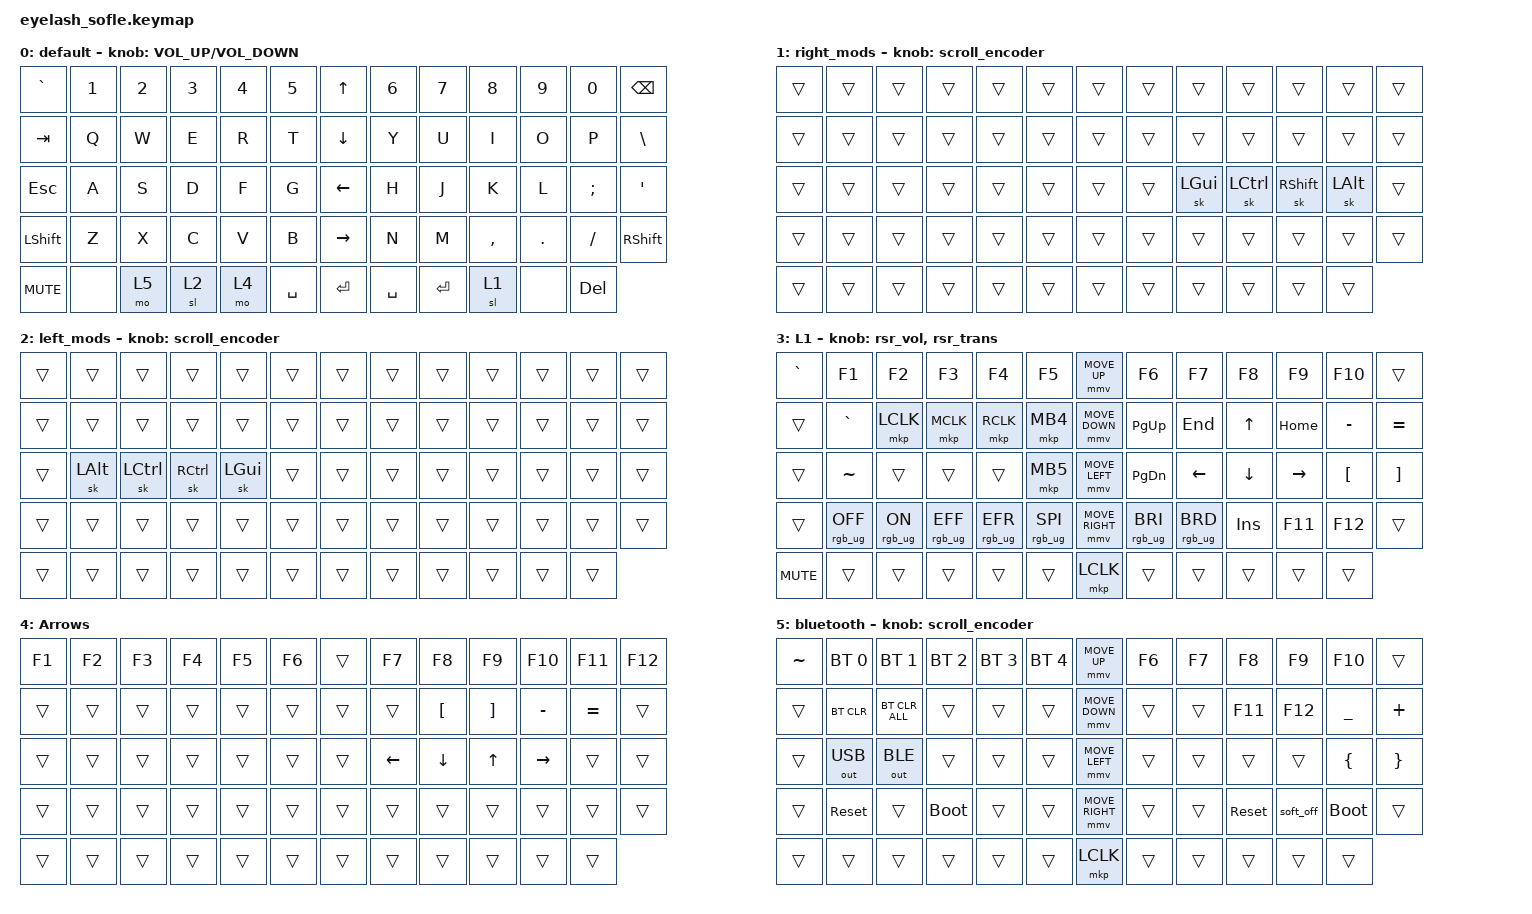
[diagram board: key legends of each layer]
#define ZMK_POINTING_DEFAULT_MOVE_VAL 1200  // 600
#define ZMK_POINTING_DEFAULT_SCRL_VAL 25   // 10

#include <input/processors.dtsi>
#include <zephyr/dt-bindings/input/input-event-codes.h>
#include <behaviors/runtime-sensor-rotate.dtsi>
#include <behaviors.dtsi>
#include <dt-bindings/zmk/bt.h>
#include <dt-bindings/zmk/keys.h>
#include <dt-bindings/zmk/outputs.h>
#include <dt-bindings/zmk/pointing.h>
#include <dt-bindings/zmk/rgb.h>

&mmv_input_listener { input-processors = <&zip_xy_scaler 2 1>; };

&msc_input_listener { input-processors = <&zip_scroll_scaler 2 1>; };

&msc {
    acceleration-exponent = <1>;      // 0
    time-to-max-speed-ms = <100>;       // 300
    delay-ms = <0>;                   // 0
};

&mmv {
    time-to-max-speed-ms = <500>;
    acceleration-exponent = <1>;
    trigger-period-ms = <16>;
};

&soft_off { hold-time-ms = <2000>; };

&sl { release-after-ms = <500>; };

/ {
    scroll_encoder: scroll_encoder {
        compatible = "zmk,behavior-sensor-rotate";
        #sensor-binding-cells = <0>;
        bindings = <&msc SCRL_DOWN>, <&msc SCRL_UP>;

        tap-ms = <100>;
    };

    behaviors {
        rsr_vol: rsr_vol {
            compatible = "zmk,behavior-runtime-sensor-rotate";
            #sensor-binding-cells = <0>;
            tap-ms = <5>;
            cw-binding = <&kp C_VOL_UP>;
            ccw-binding = <&kp C_VOL_DN>;
        };

        rsr_trans: rsr_trans {
            compatible = "zmk,behavior-runtime-sensor-rotate";
            #sensor-binding-cells = <0>;
            tap-ms = <0>;
        };
    };

    combos {
        compatible = "zmk,combos";

        softoff {
            bindings = <&soft_off>;
            key-positions = <14 28 40>;
        };
    };

    keymap {
        compatible = "zmk,keymap";

        Default {
            bindings = <
&kp GRAVE   &kp N1  &kp N2  &kp N3  &kp N4  &kp N5       &kp UP_ARROW     &kp N6     &kp N7     &kp N8     &kp N9   &kp N0      &kp BACKSPACE
&kp TAB     &kp Q   &kp W   &kp E   &kp R   &kp T        &kp DOWN_ARROW   &kp Y      &kp U      &kp I      &kp O    &kp P       &kp BSLH
&kp ESCAPE  &kp A   &kp S   &kp D   &kp F   &kp G        &kp LEFT_ARROW   &kp H      &kp J      &kp K      &kp L    &kp SEMI    &kp APOS
&kp LSHFT   &kp Z   &kp X   &kp C   &kp V   &kp B        &kp RIGHT_ARROW  &kp N      &kp M      &kp COMMA  &kp DOT  &kp FSLH    &kp RIGHT_SHIFT
&kp C_MUTE  &none   &mo 5   &sl 2   &mo 4   &kp SPACE    &kp ENTER        &kp SPACE  &kp ENTER  &sl 1      &none    &kp DELETE
            >;

            sensor-bindings = <&inc_dec_kp C_VOLUME_UP C_VOLUME_DOWN>;
            display-name = "default";
        };

        right_mods {
            bindings = <
&trans  &trans  &trans  &trans  &trans  &trans    &trans  &trans  &trans    &trans     &trans     &trans    &trans
&trans  &trans  &trans  &trans  &trans  &trans    &trans  &trans  &trans    &trans     &trans     &trans    &trans
&trans  &trans  &trans  &trans  &trans  &trans    &trans  &trans  &sk LGUI  &sk LCTRL  &sk RSHFT  &sk LALT  &trans
&trans  &trans  &trans  &trans  &trans  &trans    &trans  &trans  &trans    &trans     &trans     &trans    &trans
&trans  &trans  &trans  &trans  &trans  &trans    &trans  &trans  &trans    &trans     &trans     &trans
            >;

            display-name = "right_mods";
            sensor-bindings = <&scroll_encoder>;
        };

        left_mods {
            bindings = <
&trans  &trans    &trans     &trans     &trans    &trans    &trans  &trans  &trans  &trans  &trans  &trans  &trans
&trans  &trans    &trans     &trans     &trans    &trans    &trans  &trans  &trans  &trans  &trans  &trans  &trans
&trans  &sk LALT  &sk LCTRL  &sk RCTRL  &sk LGUI  &trans    &trans  &trans  &trans  &trans  &trans  &trans  &trans
&trans  &trans    &trans     &trans     &trans    &trans    &trans  &trans  &trans  &trans  &trans  &trans  &trans
&trans  &trans    &trans     &trans     &trans    &trans    &trans  &trans  &trans  &trans  &trans  &trans
            >;

            display-name = "left_mods";
            sensor-bindings = <&scroll_encoder>;
        };

        layer_1 {
            bindings = <
&kp GRAVE   &kp F1           &kp F2          &kp F3           &kp F4           &kp F5             &mmv MOVE_UP     &kp F6           &kp F7           &kp F8      &kp F9     &kp F10           &trans
&trans      &kp GRAVE        &mkp LCLK       &mkp MCLK        &mkp RCLK        &mkp MB4           &mmv MOVE_DOWN   &kp PG_UP        &kp END          &kp UP      &kp HOME   &kp MINUS         &kp EQUAL
&trans      &kp TILDE        &trans          &trans           &trans           &mkp MB5           &mmv MOVE_LEFT   &kp PG_DN        &kp LEFT         &kp DOWN    &kp RIGHT  &kp LEFT_BRACKET  &kp RIGHT_BRACKET
&trans      &rgb_ug RGB_OFF  &rgb_ug RGB_ON  &rgb_ug RGB_EFF  &rgb_ug RGB_EFR  &rgb_ug RGB_SPI    &mmv MOVE_RIGHT  &rgb_ug RGB_BRI  &rgb_ug RGB_BRD  &kp INSERT  &kp F11    &kp F12           &trans
&kp C_MUTE  &trans           &trans          &trans           &trans           &trans             &mkp LCLK        &trans           &trans           &trans      &trans     &trans
            >;

            display-name = "L1";
            sensor-bindings = <&rsr_vol &rsr_trans>;
        };

        Arrows {
            bindings = <
&kp F1  &kp F2  &kp F3  &kp F4  &kp F5  &kp F6    &trans  &kp F7    &kp F8    &kp F9    &kp F10    &kp F11    &kp F12
&trans  &trans  &trans  &trans  &trans  &trans    &trans  &trans    &kp LBKT  &kp RBKT  &kp MINUS  &kp EQUAL  &trans
&trans  &trans  &trans  &trans  &trans  &trans    &trans  &kp LEFT  &kp DOWN  &kp UP    &kp RIGHT  &trans     &trans
&trans  &trans  &trans  &trans  &trans  &trans    &trans  &trans    &trans    &trans    &trans     &trans     &trans
&trans  &trans  &trans  &trans  &trans  &trans    &trans  &trans    &trans    &trans    &trans     &trans
            >;
        };

        bluetooth {
            bindings = <
&kp TILDE  &bt BT_SEL 0  &bt BT_SEL 1    &bt BT_SEL 2  &bt BT_SEL 3  &bt BT_SEL 4    &mmv MOVE_UP     &kp F6  &kp F7  &kp F8      &kp F9     &kp F10      &trans
&trans     &bt BT_CLR    &bt BT_CLR_ALL  &trans        &trans        &trans          &mmv MOVE_DOWN   &trans  &trans  &kp F11     &kp F12    &kp UNDER    &kp PLUS
&trans     &out OUT_USB  &out OUT_BLE    &trans        &trans        &trans          &mmv MOVE_LEFT   &trans  &trans  &trans      &trans     &kp LBRC     &kp RBRC
&trans     &sys_reset    &trans          &bootloader   &trans        &trans          &mmv MOVE_RIGHT  &trans  &trans  &sys_reset  &soft_off  &bootloader  &trans
&trans     &trans        &trans          &trans        &trans        &trans          &mkp LCLK        &trans  &trans  &trans      &trans     &trans
            >;

            display-name = "bluetooth";
            sensor-bindings = <&scroll_encoder>;
        };
    };
};
